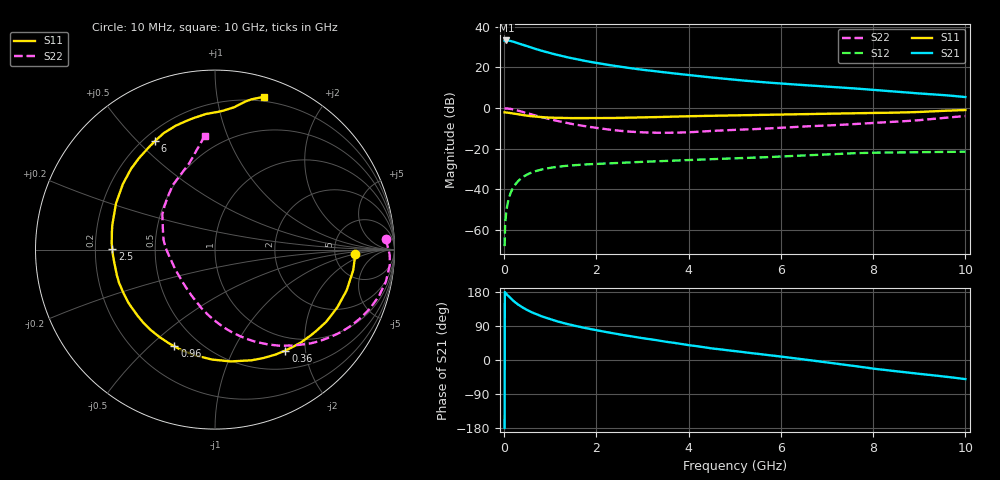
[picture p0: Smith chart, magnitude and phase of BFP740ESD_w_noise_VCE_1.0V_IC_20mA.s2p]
! Infineon Technologies  Discrete & RF Semiconductors
! BFP740ESD
! VCE =  1.0 V,  IC =  20 mA
! Common Emitter S-Parameters:  Jan 2016
# GHz  S  MA  R  50
!  f  S11  S21  S12  S22
! GHz  MAG  ANG  MAG  ANG  MAG  ANG  MAG  ANG
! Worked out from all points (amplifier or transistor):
!   233 points, 10 MHz to 10 GHz, reference 50 ohm
!   highest |S21| = 33.3 dB at 50 MHz (marker M1)
!   |S21| within 3 dB of that: start of sweep to 517.3 MHz
!   unconditionally stable (mu >= 1): start of sweep to 10.57 MHz; 4.238 GHz to 9.198 GHz
!   at 200 MHz: K = 0.15, MSG = 35.8 dB, |S12| = -39.0 dB
!   at 1.74 GHz: K = 0.59, MSG = 25.5 dB, |S12| = -27.8 dB
!   at 10 GHz: K = 0.79, MSG = 13.4 dB, |S12| = -21.5 dB
!   lowest NFmin = 0.79 dB at 450 MHz
!   S11 on the Smith chart (normalised r, x): 10 MHz: 8.11, -0.92; 360 MHz: 0.77, -1.64; 960 MHz: 0.37, -0.60; 2.5 GHz: 0.27, +0.00; 6 GHz: 0.24, +0.56; 10 GHz: 0.16, +1.36
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0.01  0.7829 -1.6  45.54 -179.3  0.0004 78.1  0.9536 3.4
0.02  0.7799 -3.8  45.85 178.1  0.0012 90.5  0.9735 -1.6
0.05  0.7785 -8.5  45.99 174.0  0.003 88.9  0.9779 -5.0
0.1  0.7679 -17.2  45.65 167.7  0.0058 81.1  0.9686 -10.7
0.15  0.7537 -25.3  44.35 161.6  0.0087 77.4  0.9487 -16.0
0.2  0.7389 -33.0  42.88 156.2  0.0112 73.5  0.9231 -20.9
0.3  0.7048 -47.3  39.41 146.5  0.0158 67.0  0.8645 -29.8
0.36  0.6855 -55.1  37.38 141.7  0.0183 63.4  0.8282 -34.5
0.45  0.6617 -65.9  34.53 135.1  0.0216 58.9  0.7761 -40.9
0.6  0.6292 -82.0  30.39 125.8  0.0261 52.4  0.6942 -50.3
0.8  0.5998 -100.3  25.91 115.8  0.0306 45.6  0.6033 -61.0
0.96  0.5845 -112.8  23.1 109.2  0.0333 41.3  0.5426 -68.5
1.3  0.5704 -134.2  18.52 97.1  0.0374 34.8  0.4434 -82.4
1.68  0.5648 -152.2  15.02 86.4  0.0404 30.2  0.3691 -95.3
2.5  0.5727 179.4  10.47 67.6  0.045 24.3  0.2764 -121.7
3.4  0.6027 157.2  7.725 50.4  0.0496 20.9  0.2468 -150.5
4.5  0.6493 136.0  5.645 30.6  0.0553 16.7  0.2739 178.6
5.1  0.6647 128.6  4.843 21.9  0.0583 15.1  0.2935 168.0
6  0.691 119.1  4.013 8.9  0.064 12.6  0.3273 152.9
6.8  0.7175 109.9  3.484 -3.2  0.0709 8.3  0.3636 141.9
8.4  0.7676 88.7  2.57 -28.3  0.0805 -4.6  0.4537 116.0
10  0.8954 72.1  1.863 -50.5  0.0844 -15.5  0.6356 95.2
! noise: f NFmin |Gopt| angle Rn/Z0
0.45  0.79  0.01  -64  0.1
0.9  0.82  0.02  -139  0.09
1.9  0.83  0.05  -129  0.1
2.4  0.88  0.09  -127  0.11
5.5  1.04  0.29  -122  0.12
10  1.64  0.57  -85  0.53
